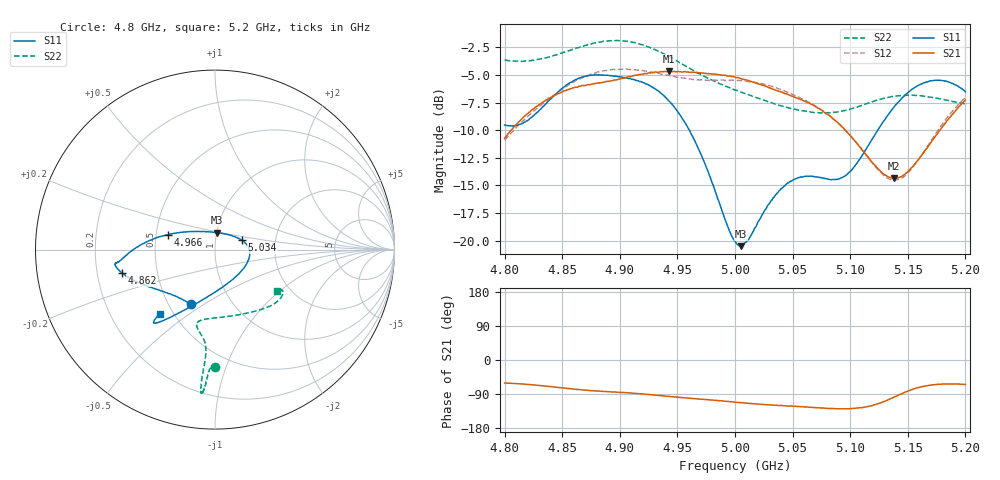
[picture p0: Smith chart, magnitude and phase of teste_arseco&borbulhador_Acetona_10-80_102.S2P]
! Network Analyzer HP8722D
! Hewlett-Packard
! Data name: Linha & Wilkinson
! Saver's name: Rodrigo Anjos
! Comments: Teste da utilização de aquisição
! continua pelo VNA HP8722D
! Time and date: 17/4/2025 15:12
!  Frequency  S11  S21  S12  S22
# HZ  S  MA R 50
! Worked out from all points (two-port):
!   401 points, 4.8 GHz to 5.2 GHz, reference 50 ohm
!   highest |S21| = -4.67 dB at 4.943 GHz (marker M1); lowest = -14.4 dB at 5.138 GHz (marker M2)
!   |S21| within 3 dB of the highest: 4.83 GHz to 5.067 GHz (236.1 MHz wide, 4.77 % of centre); 5.196327 GHz to end of sweep
!   lowest |S11| = -20.5 dB at 5.005 GHz (marker M3), VSWR 1.21, Z = 50.4 + j9.52 ohm
!   |S11| at or under -10 dB: 4.96 GHz to 5.124 GHz (163.6 MHz wide, 3.24 % of centre)
!   |S22| runs from -8.5 to -1.9 dB; largest |S21 - S12| = 0.87
!   S11 on the Smith chart (normalised r, x): 4.8 GHz: 0.64, -0.44; 4.862 GHz: 0.31, -0.11; 4.966 GHz: 0.58, +0.10; 5.034 GHz: 1.34, +0.14; 5.2 GHz: 0.42, -0.39
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4.8e9  0.3338 -113.8  0.2907 -60.9  0.2849 -175.0  0.6566 -90.0
4.819e9  0.3479 -133.7  0.3715 -64.2  0.3602 -173.8  0.6508 -91.6
4.862e9  0.5362 -166.1  0.4949 -77.2  0.5298 -177.0  0.7421 -94.0
4.867e9  0.5483 -168.0  0.5028 -78.7  0.5439 -178.0  0.7559 -94.0
4.899e9  0.5507 -172.5  0.5379 -85.3  0.5949 175.4  0.8036 -95.4
4.934e9  0.4731 -178.5  0.5784 -93.7  0.5715 171.8  0.7154 -95.8
4.943e9  0.4264 177.6  0.5842 -96.2  0.5594 171.6  0.679 -95.6
4.966e9  0.2764 162.5  0.576 -102.3  0.5357 173.8  0.58 -94.9
5e9  0.09954 100.3  0.5485 -111.3  0.5308 176.1  0.4803 -99.2
5.005e9  0.09452 82.3  0.5409 -112.5  0.5291 175.9  0.4697 -100.3
5.012e9  0.1016 58.9  0.5287 -114.5  0.5237 175.9  0.4564 -101.9
5.034e9  0.1576 19.4  0.4821 -119.1  0.4943 174.8  0.4162 -103.4
5.049e9  0.1863 4.2  0.4508 -121.6  0.4619 174.3  0.3952 -99.9
5.067e9  0.1956 -14.9  0.4132 -125.2  0.4144 173.8  0.3814 -90.7
5.085e9  0.1892 -43.1  0.3559 -128.1  0.3572 173.6  0.3809 -77.1
5.097e9  0.1986 -67.4  0.3107 -128.8  0.3117 174.7  0.3904 -67.3
5.134e9  0.3777 -117.0  0.194 -103.6  0.1899 -156.8  0.4462 -43.0
5.138e9  0.4021 -119.3  0.1914 -98.2  0.1878 -150.3  0.4492 -41.2
5.15e9  0.4666 -124.6  0.205 -82.4  0.2023 -132.0  0.4552 -36.7
5.17e9  0.5284 -129.2  0.2775 -66.2  0.2827 -112.4  0.4459 -32.0
5.184e9  0.5245 -130.5  0.3489 -63.2  0.3596 -107.2  0.4323 -31.1
5.2e9  0.4725 -130.8  0.4321 -64.5  0.4445 -106.6  0.4154 -33.4
